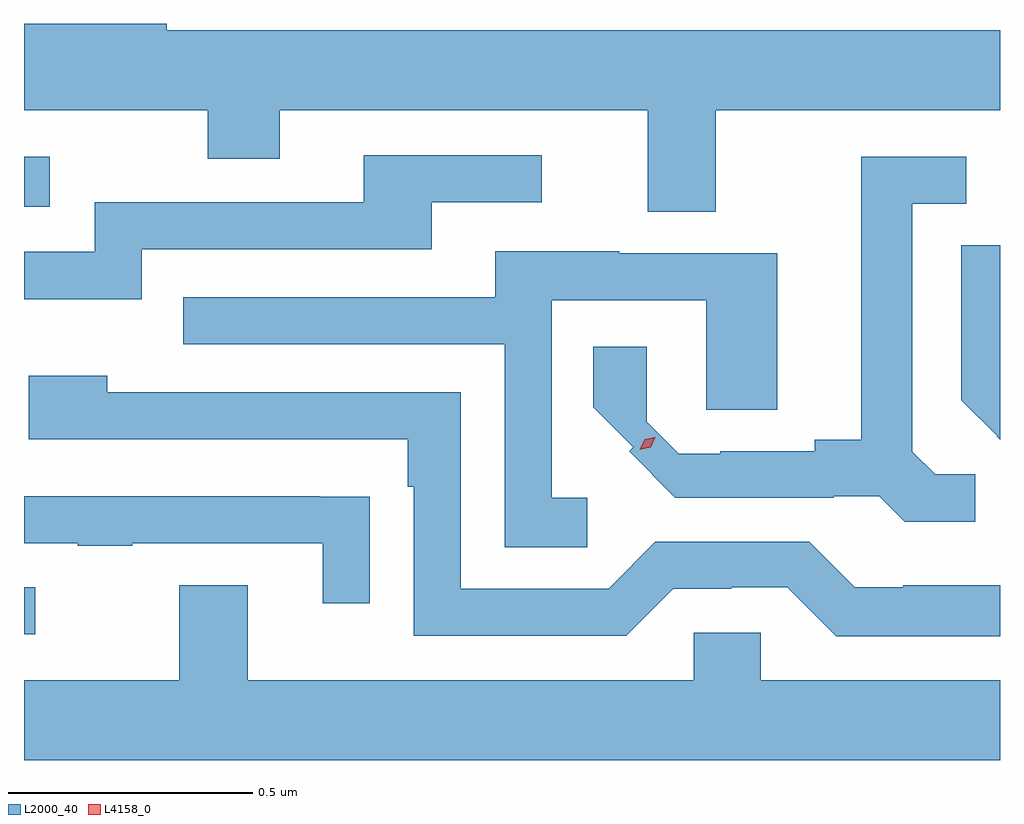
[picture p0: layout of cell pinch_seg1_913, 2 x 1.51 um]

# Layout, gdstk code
import gdstk
lib = gdstk.Library(unit=1e-6, precision=1e-09)
def R(c, l, rs):  # rectangles x0, y0, x1, y1
    for r in rs: c.add(gdstk.rectangle(r[:2], r[2:], *l))
def P(c, l, *ps):  # polygons
    for p in ps: c.add(gdstk.Polygon(p, *l))
L2000_40 = (2000, 40)
L4158_0 = (4158, 0)

pinch_seg1_913 = lib.new_cell('pinch_seg1_913')
R(pinch_seg1_913, L2000_40, [(615.635,504.039,615.658,504.135), (615.635,504.915,615.688,505.017)])
P(pinch_seg1_913, L2000_40, [(617.053,505.112),(617.635,505.112),(617.635,505.276),(615.928,505.276),(615.928,505.29),(615.635,505.29),(615.635,505.112),(616.012,505.112),(616.012,505.013),(616.159,505.013),(616.159,505.112),(616.913,505.112),(616.913,504.904),(617.053,504.904)],
  [(615.876,504.828),(616.471,504.828),(616.471,504.924),(616.696,504.924),(616.696,505.02),(616.331,505.02),(616.331,504.924),(615.78,504.924),(615.78,504.822),(615.635,504.822),(615.635,504.725),(615.876,504.725)],
  [(617.584,504.366),(617.502,504.366),(617.455,504.413),(617.455,504.921),(617.566,504.921),(617.566,505.017),(617.351,505.017),(617.351,504.437),(617.255,504.437),(617.255,504.414),(617.062,504.414),(617.062,504.408),(616.977,504.408),(616.911,504.474),(616.911,504.628),(616.801,504.628),(616.801,504.504),(616.883,504.422),(616.875,504.414),(616.97,504.318),(617.294,504.318),(617.294,504.321),(617.388,504.321),(617.44,504.269),(617.584,504.269)],
  [(617.635,504.836),(617.556,504.836),(617.556,504.518),(617.629,504.445),(617.628,504.444),(617.635,504.437)],
  [(616.789,504.318),(616.716,504.318),(616.716,504.723),(617.033,504.723),(617.033,504.499),(617.179,504.499),(617.179,504.819),(616.855,504.819),(616.855,504.823),(616.601,504.823),(616.601,504.729),(615.961,504.729),(615.961,504.633),(616.62,504.633),(616.62,504.217),(616.789,504.217)],
  [(617.635,504.139),(617.437,504.139),(617.437,504.135),(617.337,504.135),(617.244,504.228),(616.929,504.228),(616.833,504.132),(616.53,504.132),(616.53,504.534),(615.806,504.534),(615.806,504.568),(615.645,504.568),(615.645,504.438),(616.421,504.438),(616.421,504.341),(616.434,504.341),(616.434,504.036),(616.869,504.036),(616.965,504.132),(617.084,504.132),(617.084,504.135),(617.199,504.135),(617.299,504.035),(617.635,504.035)],
  [(616.343,504.32),(616.241,504.32),(616.241,504.321),(615.635,504.321),(615.635,504.225),(615.745,504.225),(615.745,504.22),(615.857,504.22),(615.857,504.225),(616.247,504.225),(616.247,504.102),(616.343,504.102)],
  [(617.635,503.944),(617.145,503.944),(617.145,504.042),(617.007,504.042),(617.007,503.944),(616.093,503.944),(616.093,504.139),(615.953,504.139),(615.953,503.944),(615.635,503.944),(615.635,503.78),(617.635,503.78)])
P(pinch_seg1_913, L4158_0, [(616.897,504.417),(616.897,504.418),(616.907,504.438),(616.928,504.442),(616.929,504.442),(616.929,504.442),(616.919,504.422),(616.897,504.417)])

lib.write_gds('pinch_seg1_913.gds')
